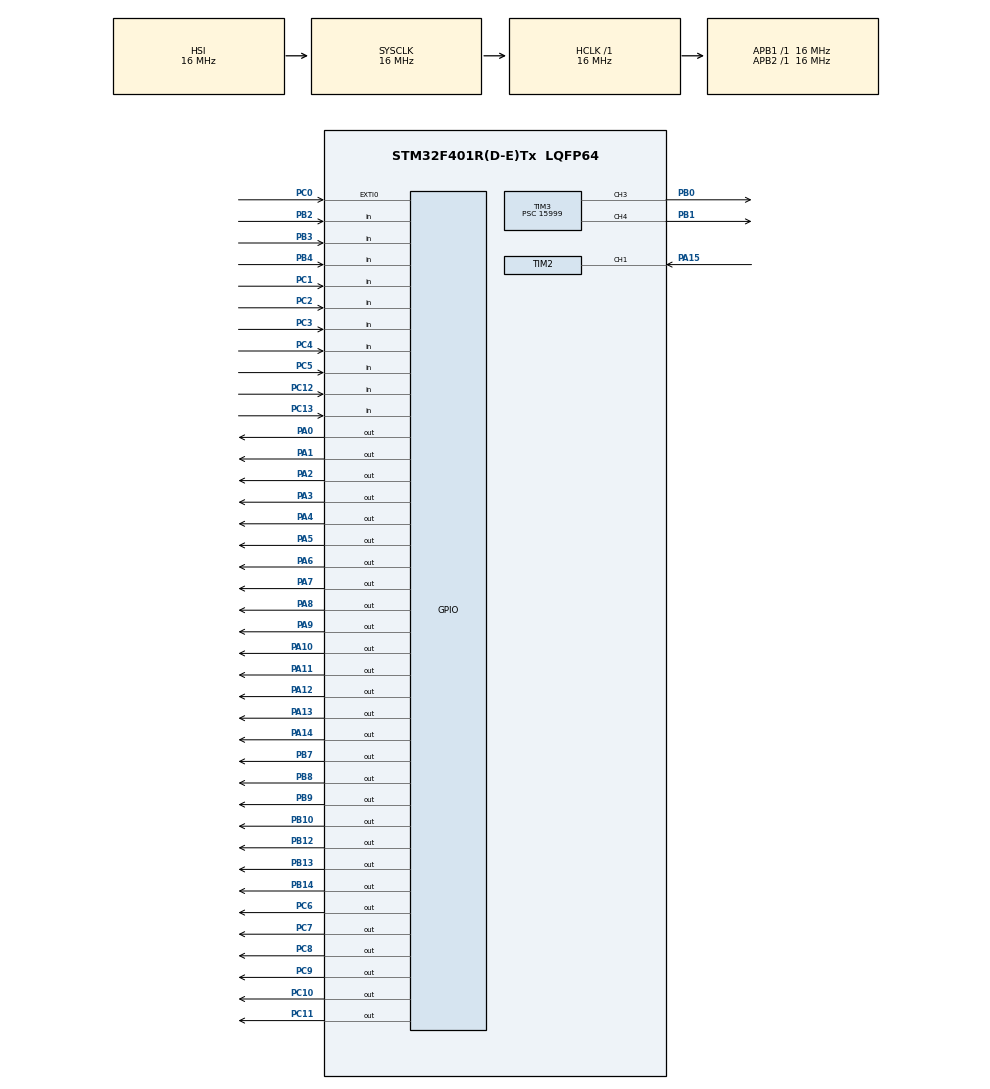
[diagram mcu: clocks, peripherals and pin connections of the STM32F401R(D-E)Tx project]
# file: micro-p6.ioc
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Mcu.Family=STM32F4
Mcu.Name=STM32F401R(D-E)Tx
Mcu.Package=LQFP64
NVIC.EXTI0_IRQn=true\:2\:0\:true\:false\:true\:true\:true
NVIC.PriorityGroup=NVIC_PRIORITYGROUP_4
NVIC.TIM2_IRQn=true\:1\:0\:true\:false\:true\:true\:true
NVIC.TIM3_IRQn=true\:0\:0\:true\:false\:true\:true\:true
NVIC.TIM4_IRQn=true\:1\:0\:true\:false\:true\:true\:true
PA0-WKUP.Signal=GPIO_Output
PA1.Signal=GPIO_Output
PA10.Signal=GPIO_Output
PA11.Signal=GPIO_Output
PA12.Signal=GPIO_Output
PA13.Signal=GPIO_Output
PA14.Signal=GPIO_Output
PA15.GPIO_ModeDefaultPP=GPIO_MODE_AF_PP
PA15.GPIO_PuPd=GPIO_PULLDOWN
PA15.Signal=S_TIM2_CH1_ETR
PA2.Signal=GPIO_Output
PA3.Signal=GPIO_Output
PA4.Signal=GPIO_Output
PA5.Signal=GPIO_Output
PA6.Signal=GPIO_Output
PA7.Signal=GPIO_Output
PA8.Signal=GPIO_Output
PA9.Signal=GPIO_Output
PB0.GPIO_ModeDefaultPP=GPIO_MODE_AF_PP
PB0.GPIO_PuPd=GPIO_PULLDOWN
PB0.Signal=S_TIM3_CH3
PB1.GPIO_ModeDefaultPP=GPIO_MODE_AF_PP
PB1.GPIO_PuPd=GPIO_PULLDOWN
PB1.Signal=S_TIM3_CH4
PB10.Signal=GPIO_Output
PB12.Signal=GPIO_Output
PB13.Signal=GPIO_Output
PB14.Signal=GPIO_Output
PB2.GPIO_PuPd=GPIO_PULLDOWN
PB2.Signal=GPIO_Input
PB3.GPIO_PuPd=GPIO_PULLDOWN
PB3.Signal=GPIO_Input
PB4.GPIO_PuPd=GPIO_PULLDOWN
PB4.Signal=GPIO_Input
PB7.Signal=GPIO_Output
PB8.Signal=GPIO_Output
PB9.Signal=GPIO_Output
PC0.GPIO_PuPd=GPIO_PULLDOWN
PC0.Signal=GPXTI0
PC1.GPIO_PuPd=GPIO_PULLDOWN
PC1.Signal=GPIO_Input
PC10.Signal=GPIO_Output
PC11.Signal=GPIO_Output
PC12.GPIO_PuPd=GPIO_PULLDOWN
PC12.Signal=GPIO_Input
PC13-ANTI_TAMP.GPIO_PuPd=GPIO_PULLDOWN
PC13-ANTI_TAMP.Signal=GPIO_Input
PC2.GPIO_PuPd=GPIO_PULLDOWN
PC2.Signal=GPIO_Input
PC3.GPIO_PuPd=GPIO_PULLDOWN
PC3.Signal=GPIO_Input
PC4.GPIO_PuPd=GPIO_PULLDOWN
PC4.Signal=GPIO_Input
PC5.GPIO_PuPd=GPIO_PULLDOWN
PC5.Signal=GPIO_Input
PC6.Signal=GPIO_Output
PC7.Signal=GPIO_Output
PC8.Signal=GPIO_Output
PC9.Signal=GPIO_Output
ProjectManager.HeapSize=0x200
ProjectManager.StackSize=0x400
ProjectManager.TargetToolchain=MDK-ARM V5.32
RCC.AHBFreq_Value=16000000
RCC.APB1Freq_Value=16000000
RCC.APB2Freq_Value=16000000
RCC.CortexFreq_Value=16000000
RCC.HSE_VALUE=25000000
RCC.HSI_VALUE=16000000
RCC.LSE_VALUE=32768
RCC.SYSCLKFreq_VALUE=16000000
RCC.VCOOutputFreq_Value=192000000
SH.S_TIM2_CH1_ETR.0=TIM2_CH1,Input_Capture1_from_TI1
SH.S_TIM3_CH3.0=TIM3_CH3,PWM Generation3 CH3
SH.S_TIM3_CH4.0=TIM3_CH4,PWM Generation4 CH4
TIM2.Channel-Input_Capture1_from_TI1=TIM_CHANNEL_1
TIM2.ICFilter_CH1=2
TIM2.ICPolarity_CH1=TIM_INPUTCHANNELPOLARITY_BOTHEDGE
TIM2.Period=999999
TIM2.Prescaler=15999
TIM3.Channel-PWM\ Generation3\ CH3=TIM_CHANNEL_3
TIM3.Channel-PWM\ Generation4\ CH4=TIM_CHANNEL_4
TIM3.Period=124
TIM3.Prescaler=15999
TIM3.Pulse-PWM\ Generation3\ CH3=60
TIM3.Pulse-PWM\ Generation4\ CH4=60
TIM4.Period=124
TIM4.Prescaler=15999
VP_TIM2_VS_ClockSourceINT.Mode=Internal
VP_TIM3_VS_ClockSourceINT.Mode=Internal
VP_TIM4_VS_ClockSourceINT.Mode=Internal
board=custom

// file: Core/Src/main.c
/* USER CODE BEGIN Header */
/**
  ******************************************************************************
  * @file           : main.c
  * @brief          : Main program body
  ******************************************************************************
  * @attention
  *
  * Copyright (c) 2022 STMicroelectronics.
  * All rights reserved.
  *
  * This software is licensed under terms that can be found in the LICENSE file
  * in the root directory of this software component.
  * If no LICENSE file comes with this software, it is provided AS-IS.
  *
  ******************************************************************************
  */
/* USER CODE END Header */
#include "main.h"

/* USER CODE BEGIN Includes */

#include <stdbool.h>
#include <time.h>
#include <stdlib.h>

// GPIOA
#define RS (8)
#define RW (9)
#define E  (10)
#define A (11)
#define B (12)
#define C (13)
#define D (14)
#define RESET_IC (15)

// GPIOB
#define LED_GREEN_PWM (0)
#define LED_RED_PWM (1)
#define C1 (2)
#define C2 (3)
#define C3 (4)
#define SA (7)
#define SB (8)
#define SC (9)
#define SD (10)
#define SE (12)
#define SF (13)
#define SG (14)

//GPIOC
#define BLUE (1)
#define GREEN (2)
#define YELLOW (3)
#define RED (4)
#define RESET (5)
#define LED_BLUE (6)
#define LED_GREEN (7)
#define LED_YELLOW (8)
#define LED_RED (9)
#define GREEN_PWM_ENABLE (10)
#define RED_PWM_ENABLE (11)
#define CONTINUE (12)
#define MASK(x)   (1UL << (x))

const uint16_t allowedMisses = 3;
const uint16_t gameTime = 60;

volatile uint16_t currentRow = 0;
volatile char inputID[8];
volatile uint16_t inputIDIndex = 0;
volatile uint16_t misses = 0;
char showingName[30];
enum State { STARTUP, SHOW_NAME, RUNNING, RESULT };
volatile enum State systemState = STARTUP;
volatile uint16_t remainingTime = gameTime;

enum ResultType { WIN, LOOSE, UNKNOWN};
volatile enum ResultType resultType = UNKNOWN;

// For IC
 uint32_t count = 0;
 bool errorPassed = false;
 uint32_t lastCaptured = 0;

volatile bool stopped = false;

// Make Delay
void delay(uint16_t ms);
//Printing String or char
void printInLine(char* string);
void print(char ch);
// turn on lcd and set proper mod
void init_lcd();
// clear second line
void clear_line_2();
// Prints Digits of a signed number
void printDigit(int N);
//Committing commands or chars
void commitCommand(unsigned char command);
void commitChar(char data);
// Converting intToChar and CharToInt
int32_t charToInt(char ch);
char intToChar(int32_t digit);
void clear_line_1();
uint16_t segment(uint16_t value);
void loose();
void win();
void showMisses();
/* USER CODE END Includes */

TIM_HandleTypeDef htim2;
TIM_HandleTypeDef htim3;
TIM_HandleTypeDef htim4;

void SystemClock_Config(void);
static void MX_GPIO_Init(void);
static void MX_TIM2_Init(void);
static void MX_TIM3_Init(void);
static void MX_TIM4_Init(void);

/* USER CODE BEGIN 0 */
uint16_t segment(uint16_t value) {
	switch(value){
		case 0:
			return MASK(SA) | MASK(SB) | MASK(SC) | MASK(SD) | MASK(SE) | MASK(SF);
		case 1:
			return MASK(SB) | MASK(SC);
		case 2:
			return MASK(SA) | MASK(SB) | MASK(SD) | MASK(SE) | MASK(SG);
		case 3:
			return MASK(SA) | MASK(SB) | MASK(SC) | MASK(SD) | MASK(SG);
		case 4:
			return MASK(SB) | MASK(SC) | MASK(SF) | MASK(SG);
		case 5:
			return MASK(SA) | MASK(SC) | MASK(SD) | MASK(SF) | MASK(SG);
		case 6:
			return MASK(SA) | MASK(SC) | MASK(SD) | MASK(SE) | MASK(SF) | MASK(SG);
		case 8:
			return MASK(SA) | MASK(SB) | MASK(SC) | MASK(SD) | MASK(SE) | MASK(SF) | MASK(SG);
		case 7:
			return MASK(SA) | MASK(SB) | MASK(SC);
		case 9:
			return MASK(SA) | MASK(SB) | MASK(SC) | MASK(SD) | MASK(SF) | MASK(SG);
		default:
			return MASK(SA) | MASK(SB) | MASK(SC) | MASK(SD) | MASK(SE) | MASK(SF);
	}
}

void commitCommand(unsigned char command){

	HAL_GPIO_WritePin(GPIOA, 0xFF, GPIO_PIN_RESET);

	HAL_GPIO_WritePin(GPIOA, MASK(RS) | MASK(RW), GPIO_PIN_RESET);
	HAL_GPIO_WritePin(GPIOA, MASK(E) | command, GPIO_PIN_SET);
	HAL_GPIO_WritePin(GPIOA, MASK(E), GPIO_PIN_RESET);

	if(command < 4)
		delay(2);
	else
		delay(1);
}
void commitChar(char data){
	HAL_GPIO_WritePin(GPIOA, 0xFF | MASK(RW), GPIO_PIN_RESET);
	HAL_GPIO_WritePin(GPIOA, MASK(E) | MASK(RS) | data , GPIO_PIN_SET);
	HAL_GPIO_WritePin(GPIOA, MASK(E) , GPIO_PIN_RESET);
	delay(1);
}
void init_lcd(){
	// Turn On :
	commitCommand(0x0C);

	// 8-bit 2 line mode :
	commitCommand(0x38);
}
void printInLine(char* string){
	while(*string != '\0'){
		char ch = (char) (*string);
		commitChar(ch);
		string++;
	}
	commitCommand(0xC0);
}

void clear_line_2(){
	commitCommand(0xC0);
	printInLine("                ");
}

void clear_line_1(){
	commitCommand(0x80);
	printInLine("                ");
}
void print(char ch){
	commitChar(ch);
}

char intToChar(int32_t digit){
		switch(digit){
		case 0: return '0';
		case 1: return '1';
		case 2: return '2';
		case 3: return '3';
		case 4: return '4';
		case 5: return '5';
		case 6: return '6';
		case 7: return '7';
		case 8: return '8';
		case 9: return '9';
		default: return '0';
	}
	return '0';
}
int32_t charToInt(char ch){
	switch(ch){
		case '0': return 0;
		case '1': return 1;
		case '2': return 2;
		case '3': return 3;
		case '4': return 4;
		case '5': return 5;
		case '6': return 6;
		case '7': return 7;
		case '8': return 8;
		case '9': return 9;
		default: return 0;
	}
	return 0;
}
void delay(uint16_t n){
    for(int i = 0; i < n; i++){
			for(int j = 0; j < 200 ;j++);
		}
}
void printDigit(int N){

		if(	N == 0 ){
			commitChar(intToChar(N));
			return;
		}
		if( N < 0 ) {
			commitChar('-');
			N = -N;
		}

    char arr[30];
    int i = 0;
    int j, r;

    while (N != 0) {
        r = N % 10;
        arr[i] = r;
        i++;
        N = N / 10;
    }
    for (j = i - 1; j > -1; j--) {
        commitChar(intToChar(arr[j]));
    }
}
// SET name to proper variable
void setName(char* name){
	  uint16_t index = 0;
		while(*name != '\0'){
		showingName[index++] = (char) (*name);
		name++;
	}
}
// check clicked button
char clickedButton(){
		if( HAL_GPIO_ReadPin( GPIOB, MASK(C1)) == GPIO_PIN_SET) {
			while(( HAL_GPIO_ReadPin( GPIOB, MASK(C1)) == GPIO_PIN_SET));
			switch(currentRow) {
				case 0:
					return '1';
				case 1:
					return '4';
				case 2:
					return '7';
				case 3:
					return '*';
				default:
					return '!';
			}
		}
		else if(HAL_GPIO_ReadPin( GPIOB, MASK(C2)) == GPIO_PIN_SET){
			while(( HAL_GPIO_ReadPin( GPIOB, MASK(C2)) == GPIO_PIN_SET));
			switch(currentRow) {
				case 0:
					return '2';
				case 1:
					return '5';
				case 2:
					return '8';
				case 3:
					return '0';
				default:
					return '!';
			}
		}
		else if(HAL_GPIO_ReadPin( GPIOB, MASK(C3)) == GPIO_PIN_SET){
			while(( HAL_GPIO_ReadPin( GPIOB, MASK(C3)) == GPIO_PIN_SET));
			switch(currentRow) {
				case 0:
					return '3';
				case 1:
					return '6';
				case 2:
					return '9';
				case 3:
					return '#';
				default:
					return '!';
			}
		}
		else { // RESET has been clicked
			if (HAL_GPIO_ReadPin( GPIOC, MASK(RESET)) == GPIO_PIN_SET){
					uint32_t start = HAL_GetTick();
					uint32_t delay = 300;
					bool long_push = true;
					while( (HAL_GetTick() - start) < delay){
							if(HAL_GPIO_ReadPin( GPIOC, MASK(RESET)) == GPIO_PIN_RESET){
								long_push = false;
								break;
							}

						if(!long_push)
							break;
					}

					if(long_push)
						return 'l';
					else
						return 'e';

			}

		}
}
void clearLEDs(){
	HAL_GPIO_WritePin(GPIOC, MASK(LED_GREEN) | MASK(LED_RED) |MASK(LED_YELLOW) | MASK(LED_BLUE) , GPIO_PIN_RESET);
}
// reset all program states & vars.
void resetAll(){
	resultType = UNKNOWN;
	HAL_TIM_PWM_Stop(&htim3, TIM_CHANNEL_4);
	HAL_TIM_PWM_Stop(&htim3, TIM_CHANNEL_3);
	HAL_GPIO_WritePin(GPIOC, MASK(RED_PWM_ENABLE), GPIO_PIN_RESET);
	HAL_GPIO_WritePin(GPIOC, MASK(GREEN_PWM_ENABLE), GPIO_PIN_RESET);
	systemState = STARTUP;
	clear_line_2();
	clearLEDs();
	remainingTime = gameTime;
	inputIDIndex = 0;
	count = 0;
	misses = 0;
	showMisses();
	commitCommand(0x80); // Move Pointer to firstLine

	MX_TIM3_Init();
	HAL_TIM_Base_Start_IT(&htim3);
}
// show given color on leds.
void showColor(char color){
	switch(color){
		case 'b':
			HAL_GPIO_WritePin(GPIOC, MASK(LED_GREEN) | MASK(LED_RED) |MASK(LED_YELLOW) , GPIO_PIN_RESET);
			HAL_GPIO_WritePin(GPIOC, MASK(LED_BLUE), GPIO_PIN_SET);
			return;
		case 'y':
			HAL_GPIO_WritePin(GPIOC, MASK(LED_BLUE) | MASK(LED_RED) |MASK(LED_GREEN) , GPIO_PIN_RESET);
			HAL_GPIO_WritePin(GPIOC, MASK(LED_YELLOW), GPIO_PIN_SET);
			return;
		case 'r':
			HAL_GPIO_WritePin(GPIOC, MASK(LED_BLUE) | MASK(LED_GREEN) |MASK(LED_YELLOW) , GPIO_PIN_RESET);
			HAL_GPIO_WritePin(GPIOC, MASK(LED_RED), GPIO_PIN_SET);
			return;
		case 'g':
			HAL_GPIO_WritePin(GPIOC, MASK(LED_BLUE) | MASK(LED_RED) |MASK(LED_YELLOW) , GPIO_PIN_RESET);
			HAL_GPIO_WritePin(GPIOC, MASK(LED_GREEN), GPIO_PIN_SET);
			return;
	}
}
// show misses on 7segment
void showMisses(){
	HAL_GPIO_WritePin( GPIOB, 0xFF << 7, GPIO_PIN_RESET);
	HAL_GPIO_WritePin( GPIOB, segment(misses), GPIO_PIN_SET);
}
char clickedLED(){
	if( HAL_GPIO_ReadPin( GPIOC, MASK(BLUE)) == GPIO_PIN_SET)
		return 'b';
	else if (HAL_GPIO_ReadPin( GPIOC, MASK(GREEN)) == GPIO_PIN_SET)
		return 'r';
	else if (HAL_GPIO_ReadPin( GPIOC, MASK(YELLOW)) == GPIO_PIN_SET)
		return 'y';
	else if (HAL_GPIO_ReadPin( GPIOC, MASK(RED)) == GPIO_PIN_SET)
		return 'g';
	else
		return 'n';
}
void delayms(uint16_t ms){
	uint32_t start = HAL_GetTick();
	while( (HAL_GetTick() - start) < ms);
}
char randomColor(){
	int val = (int) rand() % 4;
	switch(val){
		case 0:
			return 'b';
		case 1:
			return 'y';
		case 2:
			return 'g';
		case 3:
			return 'r';

	}
}
// turnOn random led and check user input !
void showAndCheck(uint16_t delayms){
	if( systemState != RUNNING)
		return;
	bool passed = false;
	char rand = randomColor();
	showColor(rand);
	uint32_t start = HAL_GetTick();
	while( (HAL_GetTick() - start) < delayms){
		if(systemState != RUNNING)
			return;
		char clicked = clickedLED();
		if( clicked == rand)
			passed = true;
		else if( clicked != 'n' && !passed){
				break;
		}
	}
	while( (HAL_GetTick() - start) < delayms && systemState == RUNNING);
	if(systemState != RUNNING)
			return;
	if(!passed){
		misses++;
		showMisses();
		if(misses >= allowedMisses){
			loose();
		}
	}
}
// run game with given scenario and timings .
void runGame(){
		uint16_t timeScaler = 8;
		for(int i = 0; i<3; i++){
			if(systemState != RUNNING)
				return;
			showAndCheck(3000/timeScaler);
		}
		for(int i = 0; i<3; i++){
			if(systemState != RUNNING)
				return;
			showAndCheck(2000/timeScaler);
		}
		uint16_t delay = 1000;
		while(time>0 && systemState == RUNNING) {
			for(int i=0; i < 10; i++)
				showAndCheck(delay/timeScaler);
			delay -= 100;
		}
}
void HAL_GPIO_EXTI_Callback(uint16_t GPIO_Pin){
	if(GPIO_PIN_0) {
			if( HAL_GPIO_ReadPin(GPIOC, MASK(CONTINUE)) == GPIO_PIN_SET) {
				stopped = false;
				return;
			}

			char clickedBtn = clickedButton();

			if( systemState == STARTUP ){
				if( clickedBtn != 'e')
					inputID[inputIDIndex++] = clickedBtn;
				if(inputIDIndex == 8){
					clear_line_1();
					commitCommand(0xC0);
					if( inputID[7] == '4')
						setName("Advari");
				  else
						setName("Heidari");
					systemState = SHOW_NAME;
				}
				else if( clickedBtn != 'e')
					print(clickedBtn);
			}
			else if (systemState == RUNNING || systemState == RESULT || systemState == SHOW_NAME){
				if(clickedBtn == '*' || clickedBtn == 'l')
					resetAll();
			}
	}
}

void HAL_TIM_IC_CaptureCallback(TIM_HandleTypeDef *htim){

	if( !errorPassed){
		errorPassed = true;
		return;
	}

	if( systemState == SHOW_NAME) {
		count++;
		// first and third edges (rising)
		if(count == 1 || count == 3){
			lastCaptured = HAL_TIM_ReadCapturedValue(htim, TIM_CHANNEL_1);
		}
		// second edge  (falling)
		else if(count == 2){
			uint32_t currentCaptured = HAL_TIM_ReadCapturedValue(htim, TIM_CHANNEL_1);
			if( currentCaptured - lastCaptured < 2000/16)
				count = lastCaptured = 0;
		}
		// check wether appropriate pulse has been s een or not.
		else if(count == 4) {
			uint32_t currentCaptured = HAL_TIM_ReadCapturedValue(htim, TIM_CHANNEL_1);
			if( currentCaptured - lastCaptured >= 2000/16)
			 {
				count = lastCaptured = 0;
				systemState = RUNNING;
				remainingTime = gameTime;
			}
			else
				count = lastCaptured = 0;
		}

	}
	else if(systemState == RUNNING) {
		static bool risingEdge = true;
		static uint32_t lastCap = 0;

		if(risingEdge){
			lastCap = HAL_TIM_ReadCapturedValue(htim, TIM_CHANNEL_1);
			risingEdge = false;
		}
		else {
			if( HAL_TIM_ReadCapturedValue(htim, TIM_CHANNEL_1) - lastCap > 2000/16 ) {
				stopped = true;
				SysTick->CTRL = 0;
			}
			else {
				risingEdge = true;
				lastCap = 0;
			}

		}
	}

}
void HAL_TIM_PeriodElapsedCallback(TIM_HandleTypeDef *htim){
	// for toggling name
	if( htim->Instance == TIM4) {
		if( systemState == SHOW_NAME){
			static bool printed = false;
			if(printed)
				clear_line_2();
			else
				printInLine(showingName);
			printed = !printed;
		}
		else if( systemState== RESULT && (resultType == WIN || resultType== LOOSE) ){
			static bool tprinted = false;
			if(tprinted)
				clear_line_2();
			else
				printInLine(resultType == WIN ? "winner" : "looser" );
			tprinted = !tprinted;
		}
	}
	// decrementing time and checking win-conditions
	if( htim->Instance == TIM3){
		if( systemState == RUNNING && !stopped) {
			clear_line_2();
			remainingTime--;
			if(remainingTime == 0){
				if(misses < allowedMisses )
					win();
				else
					loose();
			}
			else
				printDigit(remainingTime);
		}
	}
}
// bring system to loose state ( red pwm )
void loose(){
	if(resultType == WIN)
		return;
	resultType = LOOSE;
	clearLEDs();
	systemState = RESULT;
	HAL_TIM_PWM_Start(&htim3, TIM_CHANNEL_3);
	HAL_GPIO_WritePin(GPIOC, MASK(RED_PWM_ENABLE), GPIO_PIN_SET);
	clear_line_2();
	printInLine("Looser");
}
// bring system to win state ( green pwm )
void win(){
	if(resultType == LOOSE)
		return;
	resultType = WIN;
	clearLEDs();
	systemState = RESULT;
	HAL_TIM_PWM_Start(&htim3, TIM_CHANNEL_4);
	HAL_GPIO_WritePin(GPIOC, MASK(GREEN_PWM_ENABLE), GPIO_PIN_SET);
	clear_line_2();
	printInLine("Winner");
}
/* USER CODE END 0 */

int main(void)
{

  /* MCU Configuration--------------------------------------------------------*/

  /* Reset of all peripherals, Initializes the Flash interface and the Systick. */
  HAL_Init();

  /* Configure the system clock */
  SystemClock_Config();

  /* Initialize all configured peripherals */
  MX_GPIO_Init();
  MX_TIM2_Init();
  MX_TIM3_Init();
  MX_TIM4_Init();
  /* USER CODE BEGIN 2 */
		init_lcd();
		HAL_NVIC_SetPriority(SysTick_IRQn, 0, 0);
		HAL_TIM_IC_Start_IT(&htim2, TIM_CHANNEL_1);
		HAL_TIM_Base_Start_IT(&htim2);
		HAL_TIM_Base_Start_IT(&htim3);
		HAL_TIM_Base_Start_IT(&htim4);

		HAL_GPIO_WritePin( GPIOB, segment(misses), GPIO_PIN_SET);
		uint16_t rows[] = { A, B, C, D};
  /* USER CODE END 2 */

  /* Infinite loop */
  /* USER CODE BEGIN WHILE */
  while (1)
  {
		if( systemState != RUNNING){
		HAL_GPIO_WritePin(GPIOA, MASK(rows[currentRow]), GPIO_PIN_RESET);
		currentRow = (currentRow+1)% 4;
		HAL_GPIO_WritePin(GPIOA, MASK(rows[currentRow]), GPIO_PIN_SET);
		delay(180);
		}
		else {
			HAL_GPIO_WritePin(GPIOA, MASK(D), GPIO_PIN_SET);
			HAL_GPIO_WritePin(GPIOA, MASK(A)|MASK(B)|MASK(C) , GPIO_PIN_RESET);
			currentRow = 3;
			runGame();
		}
    /* USER CODE END WHILE */

  }
}

void SystemClock_Config(void)
{
  RCC_OscInitTypeDef RCC_OscInitStruct = {0};
  RCC_ClkInitTypeDef RCC_ClkInitStruct = {0};

  /** Configure the main internal regulator output voltage
  */
  __HAL_RCC_PWR_CLK_ENABLE();
  __HAL_PWR_VOLTAGESCALING_CONFIG(PWR_REGULATOR_VOLTAGE_SCALE2);
  /** Initializes the RCC Oscillators according to the specified parameters
  * in the RCC_OscInitTypeDef structure.
  */
  RCC_OscInitStruct.OscillatorType = RCC_OSCILLATORTYPE_HSI;
  RCC_OscInitStruct.HSIState = RCC_HSI_ON;
  RCC_OscInitStruct.HSICalibrationValue = RCC_HSICALIBRATION_DEFAULT;
  RCC_OscInitStruct.PLL.PLLState = RCC_PLL_NONE;
  if (HAL_RCC_OscConfig(&RCC_OscInitStruct) != HAL_OK)
  {
    Error_Handler();
  }
  /** Initializes the CPU, AHB and APB buses clocks
  */
  RCC_ClkInitStruct.ClockType = RCC_CLOCKTYPE_HCLK|RCC_CLOCKTYPE_SYSCLK
                              |RCC_CLOCKTYPE_PCLK1|RCC_CLOCKTYPE_PCLK2;
  RCC_ClkInitStruct.SYSCLKSource = RCC_SYSCLKSOURCE_HSI;
  RCC_ClkInitStruct.AHBCLKDivider = RCC_SYSCLK_DIV1;
  RCC_ClkInitStruct.APB1CLKDivider = RCC_HCLK_DIV1;
  RCC_ClkInitStruct.APB2CLKDivider = RCC_HCLK_DIV1;

  if (HAL_RCC_ClockConfig(&RCC_ClkInitStruct, FLASH_LATENCY_0) != HAL_OK)
  {
    Error_Handler();
  }
}

static void MX_TIM2_Init(void)
{

  TIM_ClockConfigTypeDef sClockSourceConfig = {0};
  TIM_MasterConfigTypeDef sMasterConfig = {0};
  TIM_IC_InitTypeDef sConfigIC = {0};

  htim2.Instance = TIM2;
  htim2.Init.Prescaler = 15999;
  htim2.Init.CounterMode = TIM_COUNTERMODE_UP;
  htim2.Init.Period = 999999;
  htim2.Init.ClockDivision = TIM_CLOCKDIVISION_DIV1;
  htim2.Init.AutoReloadPreload = TIM_AUTORELOAD_PRELOAD_DISABLE;
  if (HAL_TIM_Base_Init(&htim2) != HAL_OK)
  {
    Error_Handler();
  }
  sClockSourceConfig.ClockSource = TIM_CLOCKSOURCE_INTERNAL;
  if (HAL_TIM_ConfigClockSource(&htim2, &sClockSourceConfig) != HAL_OK)
  {
    Error_Handler();
  }
  if (HAL_TIM_IC_Init(&htim2) != HAL_OK)
  {
    Error_Handler();
  }
  sMasterConfig.MasterOutputTrigger = TIM_TRGO_RESET;
  sMasterConfig.MasterSlaveMode = TIM_MASTERSLAVEMODE_DISABLE;
  if (HAL_TIMEx_MasterConfigSynchronization(&htim2, &sMasterConfig) != HAL_OK)
  {
    Error_Handler();
  }
  sConfigIC.ICPolarity = TIM_INPUTCHANNELPOLARITY_BOTHEDGE;
  sConfigIC.ICSelection = TIM_ICSELECTION_DIRECTTI;
  sConfigIC.ICPrescaler = TIM_ICPSC_DIV1;
  sConfigIC.ICFilter = 2;
  if (HAL_TIM_IC_ConfigChannel(&htim2, &sConfigIC, TIM_CHANNEL_1) != HAL_OK)
  {
    Error_Handler();
  }

}

static void MX_TIM3_Init(void)
{

  TIM_ClockConfigTypeDef sClockSourceConfig = {0};
  TIM_MasterConfigTypeDef sMasterConfig = {0};
  TIM_OC_InitTypeDef sConfigOC = {0};

  htim3.Instance = TIM3;
  htim3.Init.Prescaler = 15999;
  htim3.Init.CounterMode = TIM_COUNTERMODE_UP;
  htim3.Init.Period = 124;
  htim3.Init.ClockDivision = TIM_CLOCKDIVISION_DIV1;
  htim3.Init.AutoReloadPreload = TIM_AUTORELOAD_PRELOAD_DISABLE;
  if (HAL_TIM_Base_Init(&htim3) != HAL_OK)
  {
    Error_Handler();
  }
  sClockSourceConfig.ClockSource = TIM_CLOCKSOURCE_INTERNAL;
  if (HAL_TIM_ConfigClockSource(&htim3, &sClockSourceConfig) != HAL_OK)
  {
    Error_Handler();
  }
  if (HAL_TIM_PWM_Init(&htim3) != HAL_OK)
  {
    Error_Handler();
  }
  sMasterConfig.MasterOutputTrigger = TIM_TRGO_RESET;
  sMasterConfig.MasterSlaveMode = TIM_MASTERSLAVEMODE_DISABLE;
  if (HAL_TIMEx_MasterConfigSynchronization(&htim3, &sMasterConfig) != HAL_OK)
  {
    Error_Handler();
  }
  sConfigOC.OCMode = TIM_OCMODE_PWM1;
  sConfigOC.Pulse = 60;
  sConfigOC.OCPolarity = TIM_OCPOLARITY_HIGH;
  sConfigOC.OCFastMode = TIM_OCFAST_DISABLE;
  if (HAL_TIM_PWM_ConfigChannel(&htim3, &sConfigOC, TIM_CHANNEL_3) != HAL_OK)
  {
    Error_Handler();
  }
  if (HAL_TIM_PWM_ConfigChannel(&htim3, &sConfigOC, TIM_CHANNEL_4) != HAL_OK)
  {
    Error_Handler();
  }
  HAL_TIM_MspPostInit(&htim3);

}

static void MX_TIM4_Init(void)
{

  TIM_ClockConfigTypeDef sClockSourceConfig = {0};
  TIM_MasterConfigTypeDef sMasterConfig = {0};

  htim4.Instance = TIM4;
  htim4.Init.Prescaler = 15999;
  htim4.Init.CounterMode = TIM_COUNTERMODE_UP;
  htim4.Init.Period = 124;
  htim4.Init.ClockDivision = TIM_CLOCKDIVISION_DIV1;
  htim4.Init.AutoReloadPreload = TIM_AUTORELOAD_PRELOAD_DISABLE;
  if (HAL_TIM_Base_Init(&htim4) != HAL_OK)
  {
    Error_Handler();
  }
  sClockSourceConfig.ClockSource = TIM_CLOCKSOURCE_INTERNAL;
  if (HAL_TIM_ConfigClockSource(&htim4, &sClockSourceConfig) != HAL_OK)
  {
    Error_Handler();
  }
  sMasterConfig.MasterOutputTrigger = TIM_TRGO_RESET;
  sMasterConfig.MasterSlaveMode = TIM_MASTERSLAVEMODE_DISABLE;
  if (HAL_TIMEx_MasterConfigSynchronization(&htim4, &sMasterConfig) != HAL_OK)
  {
    Error_Handler();
  }

}

static void MX_GPIO_Init(void)
{
  GPIO_InitTypeDef GPIO_InitStruct = {0};

  /* GPIO Ports Clock Enable */
  __HAL_RCC_GPIOC_CLK_ENABLE();
  __HAL_RCC_GPIOA_CLK_ENABLE();
  __HAL_RCC_GPIOB_CLK_ENABLE();

  /*Configure GPIO pin Output Level */
  HAL_GPIO_WritePin(GPIOA, GPIO_PIN_0|GPIO_PIN_1|GPIO_PIN_2|GPIO_PIN_3
                          |GPIO_PIN_4|GPIO_PIN_5|GPIO_PIN_6|GPIO_PIN_7
                          |GPIO_PIN_8|GPIO_PIN_9|GPIO_PIN_10|GPIO_PIN_11
                          |GPIO_PIN_12|GPIO_PIN_13|GPIO_PIN_14, GPIO_PIN_RESET);

  /*Configure GPIO pin Output Level */
  HAL_GPIO_WritePin(GPIOB, GPIO_PIN_10|GPIO_PIN_12|GPIO_PIN_13|GPIO_PIN_14
                          |GPIO_PIN_7|GPIO_PIN_8|GPIO_PIN_9, GPIO_PIN_RESET);

  /*Configure GPIO pin Output Level */
  HAL_GPIO_WritePin(GPIOC, GPIO_PIN_6|GPIO_PIN_7|GPIO_PIN_8|GPIO_PIN_9
                          |GPIO_PIN_10|GPIO_PIN_11, GPIO_PIN_RESET);

  /*Configure GPIO pins : PC13 PC1 PC2 PC3
                           PC4 PC5 PC12 */
  GPIO_InitStruct.Pin = GPIO_PIN_13|GPIO_PIN_1|GPIO_PIN_2|GPIO_PIN_3
                          |GPIO_PIN_4|GPIO_PIN_5|GPIO_PIN_12;
  GPIO_InitStruct.Mode = GPIO_MODE_INPUT;
  GPIO_InitStruct.Pull = GPIO_PULLDOWN;
  HAL_GPIO_Init(GPIOC, &GPIO_InitStruct);

  /*Configure GPIO pin : PC0 */
  GPIO_InitStruct.Pin = GPIO_PIN_0;
  GPIO_InitStruct.Mode = GPIO_MODE_IT_RISING;
  GPIO_InitStruct.Pull = GPIO_PULLDOWN;
  HAL_GPIO_Init(GPIOC, &GPIO_InitStruct);

  /*Configure GPIO pins : PA0 PA1 PA2 PA3
                           PA4 PA5 PA6 PA7
                           PA8 PA9 PA10 PA11
                           PA12 PA13 PA14 */
  GPIO_InitStruct.Pin = GPIO_PIN_0|GPIO_PIN_1|GPIO_PIN_2|GPIO_PIN_3
                          |GPIO_PIN_4|GPIO_PIN_5|GPIO_PIN_6|GPIO_PIN_7
                          |GPIO_PIN_8|GPIO_PIN_9|GPIO_PIN_10|GPIO_PIN_11
                          |GPIO_PIN_12|GPIO_PIN_13|GPIO_PIN_14;
  GPIO_InitStruct.Mode = GPIO_MODE_OUTPUT_PP;
  GPIO_InitStruct.Pull = GPIO_NOPULL;
  GPIO_InitStruct.Speed = GPIO_SPEED_FREQ_LOW;
  HAL_GPIO_Init(GPIOA, &GPIO_InitStruct);

  /*Configure GPIO pins : PB2 PB3 PB4 */
  GPIO_InitStruct.Pin = GPIO_PIN_2|GPIO_PIN_3|GPIO_PIN_4;
  GPIO_InitStruct.Mode = GPIO_MODE_INPUT;
  GPIO_InitStruct.Pull = GPIO_PULLDOWN;
  HAL_GPIO_Init(GPIOB, &GPIO_InitStruct);

  /*Configure GPIO pins : PB10 PB12 PB13 PB14
                           PB7 PB8 PB9 */
  GPIO_InitStruct.Pin = GPIO_PIN_10|GPIO_PIN_12|GPIO_PIN_13|GPIO_PIN_14
                          |GPIO_PIN_7|GPIO_PIN_8|GPIO_PIN_9;
  GPIO_InitStruct.Mode = GPIO_MODE_OUTPUT_PP;
  GPIO_InitStruct.Pull = GPIO_NOPULL;
  GPIO_InitStruct.Speed = GPIO_SPEED_FREQ_LOW;
  HAL_GPIO_Init(GPIOB, &GPIO_InitStruct);

  /*Configure GPIO pins : PC6 PC7 PC8 PC9
                           PC10 PC11 */
  GPIO_InitStruct.Pin = GPIO_PIN_6|GPIO_PIN_7|GPIO_PIN_8|GPIO_PIN_9
                          |GPIO_PIN_10|GPIO_PIN_11;
  GPIO_InitStruct.Mode = GPIO_MODE_OUTPUT_PP;
  GPIO_InitStruct.Pull = GPIO_NOPULL;
  GPIO_InitStruct.Speed = GPIO_SPEED_FREQ_LOW;
  HAL_GPIO_Init(GPIOC, &GPIO_InitStruct);

  /* EXTI interrupt init*/
  HAL_NVIC_SetPriority(EXTI0_IRQn, 2, 0);
  HAL_NVIC_EnableIRQ(EXTI0_IRQn);

}

void Error_Handler(void)
{
  __disable_irq();
  while (1)
  {
  }
}
